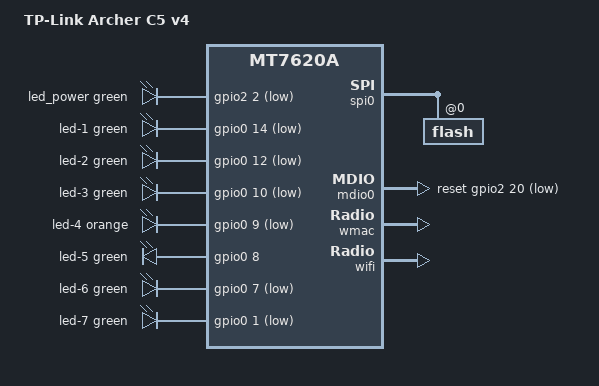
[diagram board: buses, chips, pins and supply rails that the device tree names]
// SPDX-License-Identifier: GPL-2.0-or-later OR MIT

#include <dt-bindings/leds/common.h>

#include "mt7620a_tplink_archer.dtsi"

/ {
	compatible = "tplink,archer-c5-v4", "ralink,mt7620a-soc";
	model = "TP-Link Archer C5 v4";

	aliases {
		led-boot = &led_power;
		led-failsafe = &led_power;
		led-running = &led_power;
		led-upgrade = &led_power;
		label-mac-device = &ethernet;
	};

	leds {
		compatible = "gpio-leds";

		led_power: led-0 {
			function = LED_FUNCTION_POWER;
			color = <LED_COLOR_ID_GREEN>;
			gpios = <&gpio2 2 GPIO_ACTIVE_LOW>;
		};

		led-1 {
			function = LED_FUNCTION_WLAN;
			color = <LED_COLOR_ID_GREEN>;
			function-enumerator = <2>;
			gpios = <&gpio0 14 GPIO_ACTIVE_LOW>;
			linux,default-trigger = "phy1tpt";
		};

		led-2 {
			function = LED_FUNCTION_WLAN;
			color = <LED_COLOR_ID_GREEN>;
			function-enumerator = <5>;
			gpios = <&gpio0 12 GPIO_ACTIVE_LOW>;
			linux,default-trigger = "phy0tpt";
		};

		led-3 {
			function = LED_FUNCTION_WAN;
			color = <LED_COLOR_ID_GREEN>;
			gpios = <&gpio0 10 GPIO_ACTIVE_LOW>;
		};

		led-4 {
			function = LED_FUNCTION_WAN;
			color = <LED_COLOR_ID_ORANGE>;
			gpios = <&gpio0 9 GPIO_ACTIVE_LOW>;
		};

		led-5 {
			function = LED_FUNCTION_LAN;
			color = <LED_COLOR_ID_GREEN>;
			gpios = <&gpio0 8 GPIO_ACTIVE_HIGH>;
		};

		led-6 {
			function = LED_FUNCTION_USB;
			color = <LED_COLOR_ID_GREEN>;
			gpios = <&gpio0 7 GPIO_ACTIVE_LOW>;
			trigger-sources = <&ohci_port1>, <&ehci_port1>;
			linux,default-trigger = "usbport";
		};

		led-7 {
			function = LED_FUNCTION_WPS;
			color = <LED_COLOR_ID_GREEN>;
			gpios = <&gpio0 1 GPIO_ACTIVE_LOW>;
		};
	};

	rtl8367s {
		compatible = "realtek,rtl8367b";
		cpu_port = <7>;
		realtek,extif2 = <1 0 1 1 1 1 1 1 2>;
		mii-bus = <&mdio0>;
		phy-id = <29>;
	};
};

&spi0 {
	flash@0 {
		#address-cells = <1>;
		#size-cells = <1>;
	};
};

&state_default {
	gpio {
		groups = "i2c", "uartf", "ephy", "rgmii2";
		function = "gpio";
	};
};

&ethernet {
	pinctrl-names = "default";
	pinctrl-0 = <&rgmii1_pins &mdio_pins>;

	port@5 {
		status = "okay";
		mediatek,fixed-link = <1000 1 1 1>;
		phy-mode = "rgmii";
	};

	mdio0: mdio-bus {
		status = "okay";
		reset-gpios = <&gpio2 20 GPIO_ACTIVE_LOW>;
		reset-delay-us = <10000>;
	};
};

&wmac {
	pinctrl-names = "default", "pa_gpio";
	pinctrl-0 = <&pa_pins>;
	pinctrl-1 = <&pa_gpio_pins>;

	nvmem-cells = <&eeprom_radio_0>, <&macaddr_rom_f100 0>;
	nvmem-cell-names = "eeprom", "mac-address";
};

&wifi {
	nvmem-cells = <&eeprom_radio_8000>, <&macaddr_rom_f100 2>;
	nvmem-cell-names = "eeprom", "mac-address";
};
